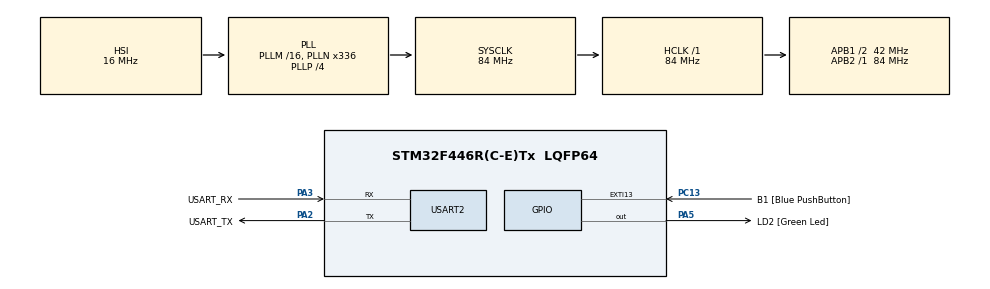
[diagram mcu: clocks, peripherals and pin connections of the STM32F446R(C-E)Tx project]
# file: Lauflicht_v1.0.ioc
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Mcu.Family=STM32F4
Mcu.Name=STM32F446R(C-E)Tx
Mcu.Package=LQFP64
NVIC.PriorityGroup=NVIC_PRIORITYGROUP_0
PA13.GPIO_Label=TMS
PA13.Mode=Serial_Wire
PA13.Signal=SYS_JTMS-SWDIO
PA14.GPIO_Label=TCK
PA14.Mode=Serial_Wire
PA14.Signal=SYS_JTCK-SWCLK
PA2.GPIO_Label=USART_TX
PA2.Mode=Asynchronous
PA2.Signal=USART2_TX
PA3.GPIO_Label=USART_RX
PA3.Mode=Asynchronous
PA3.Signal=USART2_RX
PA5.GPIO_Label=LD2 [Green Led]
PA5.Signal=GPIO_Output
PB3.GPIO_Label=SWO
PB3.Signal=SYS_JTDO-SWO
PC13.GPIO_Label=B1 [Blue PushButton]
PC13.GPIO_ModeDefaultEXTI=GPIO_MODE_IT_FALLING
PC13.Signal=GPXTI13
PC14-OSC32_IN.Mode=LSE-External-Oscillator
PC14-OSC32_IN.Signal=RCC_OSC32_IN
PC15-OSC32_OUT.Mode=LSE-External-Oscillator
PC15-OSC32_OUT.Signal=RCC_OSC32_OUT
PH0-OSC_IN.Mode=HSE-External-Oscillator
PH0-OSC_IN.Signal=RCC_OSC_IN
PH1-OSC_OUT.Mode=HSE-External-Oscillator
PH1-OSC_OUT.Signal=RCC_OSC_OUT
ProjectManager.HeapSize=0x200
ProjectManager.StackSize=0x400
ProjectManager.TargetToolchain=CMake
RCC.48MHZClocksFreq_Value=84000000
RCC.AHBFreq_Value=84000000
RCC.APB1CLKDivider=RCC_HCLK_DIV2
RCC.APB1Freq_Value=42000000
RCC.APB1TimFreq_Value=84000000
RCC.APB2Freq_Value=84000000
RCC.APB2TimFreq_Value=84000000
RCC.CortexFreq_Value=84000000
RCC.FLatency-AdvancedSettings=FLASH_LATENCY_2
RCC.HCLKFreq_Value=84000000
RCC.HSE_VALUE=8000000
RCC.HSI_VALUE=16000000
RCC.PLLN=336
RCC.PLLP=RCC_PLLP_DIV4
RCC.SYSCLKFreq_VALUE=84000000
RCC.SYSCLKSource=RCC_SYSCLKSOURCE_PLLCLK
RCC.USBFreq_Value=168000000
RCC.VCOOutputFreq_Value=336000000
USART2.VirtualMode=VM_ASYNC
board=NUCLEO-F446RE

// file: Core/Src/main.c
/* USER CODE BEGIN Header */
/**
  ******************************************************************************
  * @file           : main.c
  * @brief          : Main program body
  ******************************************************************************
  * @attention
  *
  * Copyright (c) 2026 STMicroelectronics.
  * All rights reserved.
  *
  * This software is licensed under terms that can be found in the LICENSE file
  * in the root directory of this software component.
  * If no LICENSE file comes with this software, it is provided AS-IS.
  *
  ******************************************************************************
  */
/* USER CODE END Header */
#include "main.h"
#include<stdio.h>

UART_HandleTypeDef huart2;

void SystemClock_Config(void);
static void MX_GPIO_Init(void);
static void MX_USART2_UART_Init(void);

int main(void)
{

  /* MCU Configuration--------------------------------------------------------*/

  /* Reset of all peripherals, Initializes the Flash interface and the Systick. */
  HAL_Init();

  /* Configure the system clock */
  SystemClock_Config();

  /* Initialize all configured peripherals */
  MX_GPIO_Init();
  MX_USART2_UART_Init();
  /* USER CODE BEGIN 2 */
  printf("Programm gestartet\r\n"); // zum testen
//------------------------------------------------------

    // @satisfies GPIO_CONFIGURATION
    // @satisfies LED_CONFIGURATION
    // GPIOC Clock aktivieren und PC0-PC7 als Ausgänge konfigurieren
    //------------------------------------------------------

    RCC->AHB1ENR |= (1 << 2);

    GPIOC->MODER &= ~(0xFFFF);
    GPIOC->MODER |= 0x5555;

    //------------------------------------------------------
// Zeitstempel-Timer (TIM5)
// Läuft kontinuierlich mit 1 ms Auflösung
//------------------------------------------------------

RCC->APB1ENR |= (1 << 3);      // TIM5 Clock aktivieren

TIM5->PSC = 84000 - 1;         // 84 MHz / 84000 = 1 kHz
TIM5->ARR = 0xFFFFFFFF;        // Maximalwert (32 Bit)

TIM5->EGR = TIM_EGR_UG;     // Prescaler sofort übernehmen

TIM5->CNT = 0;
TIM5->SR = 0;
TIM5->CR1|= TIM_CR1_CEN;               // Timer starten

    //------------------------------------------------------
    // @satisfies TIMER_CONFIGURATION
    // TIM2 als Zeitbasis konfigurieren
    //------------------------------------------------------

    RCC->APB1ENR |= (1 << 0);

    TIM2->PSC = 84000 -1 ;
    TIM2->ARR = 1000 - 1;

   TIM2->EGR = TIM_EGR_UG;     // Prescaler übernehmen
   TIM2->SR = 0;               // UIF löschen
   TIM2->CNT = 0;
   TIM2->CR1 |= TIM_CR1_CEN;

    uint8_t led = 0;

  /* USER CODE END 2 */

  /* Infinite loop */
  while (1)
  {
//--------------------------------------------------
        // @satisfies RUNNING_LIGHT

        //--------------------------------------------------

        if (TIM2->SR & 1)
        {
            TIM2->SR &= ~1;

            //--------------------------------------------------
            // @satisfies LED_SEQUENCE
            //--------------------------------------------------

            GPIOC->ODR = (1 << led);

            //--------------------------------------------------
            // @satisfies LED_TIMING
            // UART-Ausgabe für den Python-Test
            //--------------------------------------------------

            //printf("LED%d ON %lu\r\n", led + 1, TIM5->CNT);
            printf("LED%d ON %lu\r\n", led + 1, TIM5->CNT);

            led++;

            if (led >= 8)
                led = 0;
        }

  }
}

void SystemClock_Config(void)
{
  RCC_OscInitTypeDef RCC_OscInitStruct = {0};
  RCC_ClkInitTypeDef RCC_ClkInitStruct = {0};

  /** Configure the main internal regulator output voltage
  */
  __HAL_RCC_PWR_CLK_ENABLE();
  __HAL_PWR_VOLTAGESCALING_CONFIG(PWR_REGULATOR_VOLTAGE_SCALE3);

  /** Initializes the RCC Oscillators according to the specified parameters
  * in the RCC_OscInitTypeDef structure.
  */
  RCC_OscInitStruct.OscillatorType = RCC_OSCILLATORTYPE_HSI;
  RCC_OscInitStruct.HSIState = RCC_HSI_ON;
  RCC_OscInitStruct.HSICalibrationValue = RCC_HSICALIBRATION_DEFAULT;
  RCC_OscInitStruct.PLL.PLLState = RCC_PLL_ON;
  RCC_OscInitStruct.PLL.PLLSource = RCC_PLLSOURCE_HSI;
  RCC_OscInitStruct.PLL.PLLM = 16;
  RCC_OscInitStruct.PLL.PLLN = 336;
  RCC_OscInitStruct.PLL.PLLP = RCC_PLLP_DIV4;
  RCC_OscInitStruct.PLL.PLLQ = 2;
  RCC_OscInitStruct.PLL.PLLR = 2;
  if (HAL_RCC_OscConfig(&RCC_OscInitStruct) != HAL_OK)
  {
    Error_Handler();
  }

  /** Initializes the CPU, AHB and APB buses clocks
  */
  RCC_ClkInitStruct.ClockType = RCC_CLOCKTYPE_HCLK|RCC_CLOCKTYPE_SYSCLK
                              |RCC_CLOCKTYPE_PCLK1|RCC_CLOCKTYPE_PCLK2;
  RCC_ClkInitStruct.SYSCLKSource = RCC_SYSCLKSOURCE_PLLCLK;
  RCC_ClkInitStruct.AHBCLKDivider = RCC_SYSCLK_DIV1;
  RCC_ClkInitStruct.APB1CLKDivider = RCC_HCLK_DIV2;
  RCC_ClkInitStruct.APB2CLKDivider = RCC_HCLK_DIV1;

  if (HAL_RCC_ClockConfig(&RCC_ClkInitStruct, FLASH_LATENCY_2) != HAL_OK)
  {
    Error_Handler();
  }
}

static void MX_USART2_UART_Init(void)
{

  huart2.Instance = USART2;
  huart2.Init.BaudRate = 115200;
  huart2.Init.WordLength = UART_WORDLENGTH_8B;
  huart2.Init.StopBits = UART_STOPBITS_1;
  huart2.Init.Parity = UART_PARITY_NONE;
  huart2.Init.Mode = UART_MODE_TX_RX;
  huart2.Init.HwFlowCtl = UART_HWCONTROL_NONE;
  huart2.Init.OverSampling = UART_OVERSAMPLING_16;
  if (HAL_UART_Init(&huart2) != HAL_OK)
  {
    Error_Handler();
  }

}

static void MX_GPIO_Init(void)
{
  GPIO_InitTypeDef GPIO_InitStruct = {0};

  /* GPIO Ports Clock Enable */
  __HAL_RCC_GPIOC_CLK_ENABLE();
  __HAL_RCC_GPIOH_CLK_ENABLE();
  __HAL_RCC_GPIOA_CLK_ENABLE();
  __HAL_RCC_GPIOB_CLK_ENABLE();

  /*Configure GPIO pin Output Level */
  HAL_GPIO_WritePin(LD2_GPIO_Port, LD2_Pin, GPIO_PIN_RESET);

  /*Configure GPIO pin : B1_Pin */
  GPIO_InitStruct.Pin = B1_Pin;
  GPIO_InitStruct.Mode = GPIO_MODE_IT_FALLING;
  GPIO_InitStruct.Pull = GPIO_NOPULL;
  HAL_GPIO_Init(B1_GPIO_Port, &GPIO_InitStruct);

  /*Configure GPIO pin : LD2_Pin */
  GPIO_InitStruct.Pin = LD2_Pin;
  GPIO_InitStruct.Mode = GPIO_MODE_OUTPUT_PP;
  GPIO_InitStruct.Pull = GPIO_NOPULL;
  GPIO_InitStruct.Speed = GPIO_SPEED_FREQ_LOW;
  HAL_GPIO_Init(LD2_GPIO_Port, &GPIO_InitStruct);

}

/* USER CODE BEGIN 4 */
int __io_putchar(int ch)
{
    HAL_UART_Transmit(&huart2, (uint8_t*)&ch, 1, HAL_MAX_DELAY);
    return ch;
}
/* USER CODE END 4 */

void Error_Handler(void)
{
  __disable_irq();
  while (1)
  {
  }
}
